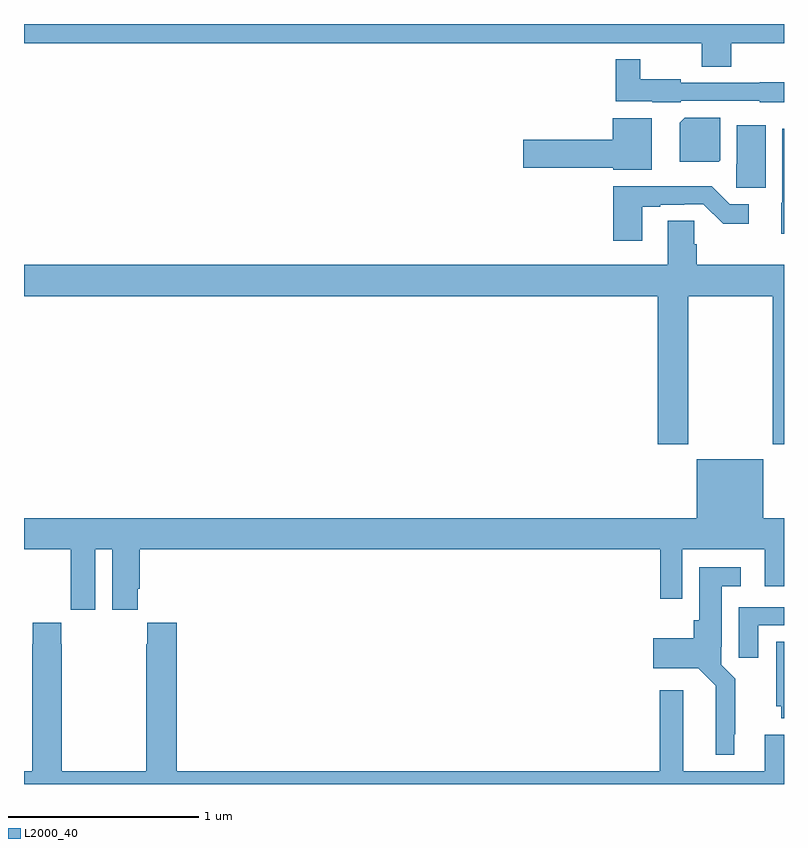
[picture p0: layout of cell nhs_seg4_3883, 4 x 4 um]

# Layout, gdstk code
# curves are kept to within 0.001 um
import gdstk
lib = gdstk.Library(unit=1e-6, precision=1e-09)
def P(c, l, *ps):  # polygons
    for p in ps: c.add(gdstk.Polygon(p, *l))
L2000_40 = (2000, 40)

nhs_seg4_3883 = lib.new_cell('nhs_seg4_3883')
P(nhs_seg4_3883, L2000_40, [(318.723,816.8),(319,816.8),(319,816.9),(315,816.9),(315,816.8),(318.568,816.8),(318.568,816.676),(318.723,816.676)],
  [(318.456,816.495),(318.873,816.495),(318.873,816.488),(319,816.488),(319,816.593),(318.873,816.593),(318.873,816.591),(318.456,816.591),(318.456,816.61),(318.244,816.61),(318.244,816.715),(318.115,816.715),(318.115,816.494),(318.306,816.494),(318.306,816.488),(318.456,816.488)],
  [(318.664,816.184),(318.664,816.406),(318.478,816.406),(318.452,816.38),(318.452,816.176),(318.656,816.176)],
  [(318.304,816.404),(318.098,816.404),(318.098,816.29),(317.628,816.29),(317.628,816.143),(318.102,816.143),(318.102,816.134),(318.304,816.134)],
  [(318.904,816.367),(318.752,816.367),(318.752,816.162),(318.748,816.162),(318.748,816.039),(318.904,816.039)],
  [(319,816.349),(318.992,816.349),(318.992,815.958),(318.986,815.958),(318.986,815.796),(319,815.796)],
  [(318.253,815.937),(318.349,815.937),(318.349,815.949),(318.476,815.949),(318.476,815.952),(318.576,815.952),(318.679,815.85),(318.814,815.85),(318.814,815.952),(318.714,815.952),(318.619,816.047),(318.101,816.047),(318.101,815.76),(318.253,815.76)],
  [(318.495,815.468),(318.94,815.468),(318.94,814.689),(319,814.689),(319,815.632),(318.542,815.632),(318.542,815.742),(318.528,815.742),(318.528,815.864),(318.389,815.864),(318.389,815.632),(315,815.632),(315,815.468),(318.335,815.468),(318.335,814.689),(318.495,814.689)],
  [(315,814.136),(315.245,814.136),(315.245,813.928),(315.246,813.928),(315.246,813.816),(315.376,813.816),(315.376,814.136),(315.464,814.136),(315.464,813.816),(315.598,813.816),(315.598,813.928),(315.608,813.928),(315.608,814.136),(318.349,814.136),(318.349,813.876),(318.465,813.876),(318.465,814.136),(318.899,814.136),(318.899,813.942),(319,813.942),(319,814.3),(318.892,814.3),(318.892,814.609),(318.542,814.609),(318.542,814.3),(315,814.3)],
  [(318.739,813.163),(318.743,813.163),(318.743,813.454),(318.669,813.528),(318.669,813.622),(318.673,813.622),(318.673,813.941),(318.772,813.941),(318.772,814.042),(318.554,814.042),(318.554,813.762),(318.524,813.762),(318.524,813.667),(318.312,813.667),(318.312,813.509),(318.549,813.509),(318.642,813.416),(318.641,813.053),(318.739,813.053)],
  [(318.865,813.735),(319,813.735),(319,813.831),(318.761,813.831),(318.761,813.564),(318.865,813.564)],
  [(315.803,813.748),(315.649,813.748),(315.649,813.635),(315.643,813.635),(315.643,812.968),(315.198,812.968),(315.198,813.635),(315.195,813.635),(315.195,813.748),(315.045,813.748),(315.045,813.635),(315.043,813.635),(315.043,812.968),(315,812.968),(315,812.9),(319,812.9),(319,813.16),(318.899,813.16),(318.899,812.968),(318.469,812.968),(318.469,813.394),(318.347,813.394),(318.347,812.968),(315.803,812.968)],
  [(319,813.65),(318.959,813.65),(318.959,813.309),(318.986,813.309),(318.986,813.245),(319,813.245)])

lib.write_gds('nhs_seg4_3883.gds')
